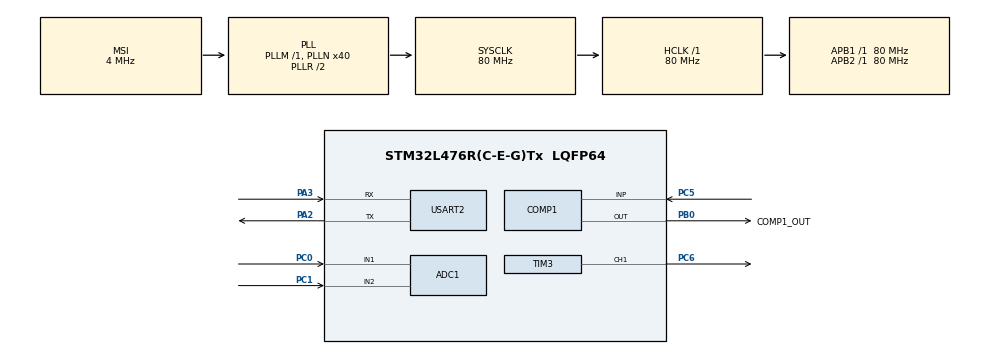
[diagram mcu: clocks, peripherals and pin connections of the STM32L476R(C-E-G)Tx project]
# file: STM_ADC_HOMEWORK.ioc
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ADC1.Channel-0\#ChannelRegularConversion=ADC_CHANNEL_1
ADC1.ContinuousConvMode=ENABLE
ADC1.NbrOfConversion=1
ADC1.NbrOfConversionFlag=1
ADC1.OffsetNumber-0\#ChannelRegularConversion=ADC_OFFSET_NONE
ADC1.Overrun=ADC_OVR_DATA_OVERWRITTEN
ADC1.Rank-0\#ChannelRegularConversion=1
ADC1.SamplingTime-0\#ChannelRegularConversion=ADC_SAMPLETIME_640CYCLES_5
ADC1.master=1
COMP1.OutputPol=COMP_OUTPUTPOL_INVERTED
Dma.ADC1.0.Direction=DMA_PERIPH_TO_MEMORY
Dma.ADC1.0.Instance=DMA1_Channel1
Dma.ADC1.0.MemDataAlignment=DMA_MDATAALIGN_HALFWORD
Dma.ADC1.0.MemInc=DMA_MINC_ENABLE
Dma.ADC1.0.Mode=DMA_CIRCULAR
Dma.ADC1.0.PeriphDataAlignment=DMA_PDATAALIGN_HALFWORD
Dma.ADC1.0.PeriphInc=DMA_PINC_DISABLE
Dma.ADC1.0.Priority=DMA_PRIORITY_LOW
Dma.Request0=ADC1
Mcu.Family=STM32L4
Mcu.Name=STM32L476R(C-E-G)Tx
Mcu.Package=LQFP64
NVIC.ADC1_2_IRQn=true\:3\:0\:true\:false\:true\:true\:true\:true
NVIC.DMA1_Channel1_IRQn=true\:0\:0\:false\:false\:true\:false\:true\:true
NVIC.PriorityGroup=NVIC_PRIORITYGROUP_4
NVIC.TIM2_IRQn=true\:7\:0\:true\:false\:true\:true\:true\:true
NVIC.TIM3_IRQn=true\:7\:0\:true\:false\:true\:true\:true\:true
NVIC.TIM6_DAC_IRQn=true\:2\:0\:true\:false\:true\:true\:true\:true
NVIC.USART2_IRQn=true\:10\:0\:true\:false\:true\:true\:true\:true
PA2.Mode=Asynchronous
PA2.Signal=USART2_TX
PA3.Mode=Asynchronous
PA3.Signal=USART2_RX
PB0.GPIO_Label=COMP1_OUT
PB0.Mode=ExternalOutput
PB0.Signal=COMP1_OUT
PC0.Signal=ADCx_IN1
PC1.Signal=ADCx_IN2
PC5.Mode=INP
PC5.Signal=COMP1_INP
PC6.Signal=S_TIM3_CH1
ProjectManager.HeapSize=0x200
ProjectManager.StackSize=0x400
ProjectManager.TargetToolchain=STM32CubeIDE
RCC.ADCFreq_Value=32000000
RCC.AHBFreq_Value=80000000
RCC.APB1Freq_Value=80000000
RCC.APB1TimFreq_Value=80000000
RCC.APB2Freq_Value=80000000
RCC.APB2TimFreq_Value=80000000
RCC.CortexFreq_Value=80000000
RCC.HCLKFreq_Value=80000000
RCC.HSE_VALUE=8000000
RCC.HSI_VALUE=16000000
RCC.LSE_VALUE=32768
RCC.MSI_VALUE=4000000
RCC.PLLN=40
RCC.PLLSAI1N=16
RCC.SYSCLKFreq_VALUE=80000000
RCC.SYSCLKSource=RCC_SYSCLKSOURCE_PLLCLK
RCC.USBFreq_Value=32000000
RCC.VCOOutputFreq_Value=160000000
SH.ADCx_IN1.0=ADC1_IN1,IN1-Single-Ended
SH.ADCx_IN2.0=ADC1_IN2,IN2-Single-Ended
SH.S_TIM3_CH1.0=TIM3_CH1,PWM Generation1 CH1
TIM2.AutoReloadPreload=TIM_AUTORELOAD_PRELOAD_ENABLE
TIM2.Period=1000
TIM2.Prescaler=7999
TIM3.AutoReloadPreload=TIM_AUTORELOAD_PRELOAD_ENABLE
TIM3.Channel-PWM\ Generation1\ CH1=TIM_CHANNEL_1
TIM3.Period=999
TIM3.Prescaler=79
USART2.VirtualMode-Asynchronous=VM_ASYNC
VP_COMP1_VS_DACOUT1.Mode=INM_DACOUT1
VP_DAC1_VS_DACI1.Mode=DAC_OUT1_Int
VP_TIM2_VS_ClockSourceINT.Mode=Internal
board=custom

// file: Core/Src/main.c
/* USER CODE BEGIN Header */
/**
  ******************************************************************************
  * @file           : main.c
  * @brief          : Main program body
  ******************************************************************************
  * @attention
  *
  * Copyright (c) 2024 STMicroelectronics.
  * All rights reserved.
  *
  * This software is licensed under terms that can be found in the LICENSE file
  * in the root directory of this software component.
  * If no LICENSE file comes with this software, it is provided AS-IS.
  *
  ******************************************************************************
  */
/* USER CODE END Header */
#include "main.h"

/* USER CODE BEGIN Includes */
#include <stdio.h>
/* USER CODE END Includes */

ADC_HandleTypeDef hadc1;
DMA_HandleTypeDef hdma_adc1;

COMP_HandleTypeDef hcomp1;

DAC_HandleTypeDef hdac1;

TIM_HandleTypeDef htim2;
TIM_HandleTypeDef htim3;

UART_HandleTypeDef huart2;

void SystemClock_Config(void);
static void MX_GPIO_Init(void);
static void MX_DMA_Init(void);
static void MX_ADC1_Init(void);
static void MX_USART2_UART_Init(void);
static void MX_TIM2_Init(void);
static void MX_TIM3_Init(void);
static void MX_COMP1_Init(void);
static void MX_DAC1_Init(void);
/* USER CODE BEGIN PFP */
void HAL_TIM_PeriodElapsedCallback(TIM_HandleTypeDef *htim);
int __io_putchar(int ch);
/* USER CODE END PFP */

/* USER CODE BEGIN 0 */

volatile uint32_t adc_value = 0;

int __io_putchar(int ch)
{
	if(ch == '\n')
	{
		__io_putchar('\r');
	}
	HAL_UART_Transmit(&huart2, (uint8_t*)&ch, 1 , HAL_MAX_DELAY);
	return 1;
}

volatile uint32_t adc_value_pot = 0;
volatile uint32_t adc_value_ldr = 0;
void HAL_ADC_ConvCpltCallback(ADC_HandleTypeDef* hadc)
{
	if(hadc->Instance == ADC1){
		adc_value_pot = HAL_ADC_GetValue(hadc);

		HAL_ADC_Start(&hadc1);
		while(HAL_ADC_PollForConversion(&hadc1, 100) != HAL_OK);
		adc_value_ldr = HAL_ADC_GetValue(hadc);

		uint32_t frequency = 100 + (adc_value_pot * 4000 / 4096);
		__HAL_TIM_SET_AUTORELOAD(&htim3, frequency);

		uint32_t pwm_value = (adc_value_ldr * 1000) / 4095;
		__HAL_TIM_SET_COMPARE(&htim3, TIM_CHANNEL_1, pwm_value);
		__HAL_TIM_SET_COMPARE(&htim3, TIM_CHANNEL_2, pwm_value);
	}
}

/* USER CODE END 0 */

// TODO fix code
// add joystick
int main(void)
{

  /* MCU Configuration--------------------------------------------------------*/

  /* Reset of all peripherals, Initializes the Flash interface and the Systick. */
  HAL_Init();

  /* Configure the system clock */
  SystemClock_Config();

  /* Initialize all configured peripherals */
  MX_GPIO_Init();
  MX_DMA_Init();
  MX_ADC1_Init();
  MX_USART2_UART_Init();
  MX_TIM2_Init();
  MX_TIM3_Init();
  MX_COMP1_Init();
  MX_DAC1_Init();

  /* Infinite loop */
  /* USER CODE BEGIN WHILE */

  HAL_ADC_Start_IT(&hadc1);
  HAL_TIM_PWM_Start(&htim3, TIM_CHANNEL_1);
  HAL_TIM_PWM_Start(&htim3, TIM_CHANNEL_2);
  while (1)
  {
    /* USER CODE END WHILE */

  }
}

void SystemClock_Config(void)
{
  RCC_OscInitTypeDef RCC_OscInitStruct = {0};
  RCC_ClkInitTypeDef RCC_ClkInitStruct = {0};

  /** Configure the main internal regulator output voltage
  */
  if (HAL_PWREx_ControlVoltageScaling(PWR_REGULATOR_VOLTAGE_SCALE1) != HAL_OK)
  {
    Error_Handler();
  }

  /** Initializes the RCC Oscillators according to the specified parameters
  * in the RCC_OscInitTypeDef structure.
  */
  RCC_OscInitStruct.OscillatorType = RCC_OSCILLATORTYPE_MSI;
  RCC_OscInitStruct.MSIState = RCC_MSI_ON;
  RCC_OscInitStruct.MSICalibrationValue = 0;
  RCC_OscInitStruct.MSIClockRange = RCC_MSIRANGE_6;
  RCC_OscInitStruct.PLL.PLLState = RCC_PLL_ON;
  RCC_OscInitStruct.PLL.PLLSource = RCC_PLLSOURCE_MSI;
  RCC_OscInitStruct.PLL.PLLM = 1;
  RCC_OscInitStruct.PLL.PLLN = 40;
  RCC_OscInitStruct.PLL.PLLP = RCC_PLLP_DIV7;
  RCC_OscInitStruct.PLL.PLLQ = RCC_PLLQ_DIV2;
  RCC_OscInitStruct.PLL.PLLR = RCC_PLLR_DIV2;
  if (HAL_RCC_OscConfig(&RCC_OscInitStruct) != HAL_OK)
  {
    Error_Handler();
  }

  /** Initializes the CPU, AHB and APB buses clocks
  */
  RCC_ClkInitStruct.ClockType = RCC_CLOCKTYPE_HCLK|RCC_CLOCKTYPE_SYSCLK
                              |RCC_CLOCKTYPE_PCLK1|RCC_CLOCKTYPE_PCLK2;
  RCC_ClkInitStruct.SYSCLKSource = RCC_SYSCLKSOURCE_PLLCLK;
  RCC_ClkInitStruct.AHBCLKDivider = RCC_SYSCLK_DIV1;
  RCC_ClkInitStruct.APB1CLKDivider = RCC_HCLK_DIV1;
  RCC_ClkInitStruct.APB2CLKDivider = RCC_HCLK_DIV1;

  if (HAL_RCC_ClockConfig(&RCC_ClkInitStruct, FLASH_LATENCY_4) != HAL_OK)
  {
    Error_Handler();
  }
}

static void MX_ADC1_Init(void)
{

  ADC_MultiModeTypeDef multimode = {0};
  ADC_ChannelConfTypeDef sConfig = {0};

  /** Common config
  */
  hadc1.Instance = ADC1;
  hadc1.Init.ClockPrescaler = ADC_CLOCK_ASYNC_DIV1;
  hadc1.Init.Resolution = ADC_RESOLUTION_12B;
  hadc1.Init.DataAlign = ADC_DATAALIGN_RIGHT;
  hadc1.Init.ScanConvMode = ADC_SCAN_DISABLE;
  hadc1.Init.EOCSelection = ADC_EOC_SINGLE_CONV;
  hadc1.Init.LowPowerAutoWait = DISABLE;
  hadc1.Init.ContinuousConvMode = ENABLE;
  hadc1.Init.NbrOfConversion = 1;
  hadc1.Init.DiscontinuousConvMode = DISABLE;
  hadc1.Init.ExternalTrigConv = ADC_SOFTWARE_START;
  hadc1.Init.ExternalTrigConvEdge = ADC_EXTERNALTRIGCONVEDGE_NONE;
  hadc1.Init.DMAContinuousRequests = DISABLE;
  hadc1.Init.Overrun = ADC_OVR_DATA_OVERWRITTEN;
  hadc1.Init.OversamplingMode = DISABLE;
  if (HAL_ADC_Init(&hadc1) != HAL_OK)
  {
    Error_Handler();
  }

  /** Configure the ADC multi-mode
  */
  multimode.Mode = ADC_MODE_INDEPENDENT;
  if (HAL_ADCEx_MultiModeConfigChannel(&hadc1, &multimode) != HAL_OK)
  {
    Error_Handler();
  }

  /** Configure Regular Channel
  */
  sConfig.Channel = ADC_CHANNEL_1;
  sConfig.Rank = ADC_REGULAR_RANK_1;
  sConfig.SamplingTime = ADC_SAMPLETIME_640CYCLES_5;
  sConfig.SingleDiff = ADC_SINGLE_ENDED;
  sConfig.OffsetNumber = ADC_OFFSET_NONE;
  sConfig.Offset = 0;
  if (HAL_ADC_ConfigChannel(&hadc1, &sConfig) != HAL_OK)
  {
    Error_Handler();
  }

}

static void MX_COMP1_Init(void)
{

  hcomp1.Instance = COMP1;
  hcomp1.Init.InvertingInput = COMP_INPUT_MINUS_DAC1_CH1;
  hcomp1.Init.NonInvertingInput = COMP_INPUT_PLUS_IO1;
  hcomp1.Init.OutputPol = COMP_OUTPUTPOL_INVERTED;
  hcomp1.Init.Hysteresis = COMP_HYSTERESIS_NONE;
  hcomp1.Init.BlankingSrce = COMP_BLANKINGSRC_NONE;
  hcomp1.Init.Mode = COMP_POWERMODE_HIGHSPEED;
  hcomp1.Init.WindowMode = COMP_WINDOWMODE_DISABLE;
  hcomp1.Init.TriggerMode = COMP_TRIGGERMODE_NONE;
  if (HAL_COMP_Init(&hcomp1) != HAL_OK)
  {
    Error_Handler();
  }

}

static void MX_DAC1_Init(void)
{

  DAC_ChannelConfTypeDef sConfig = {0};

  /** DAC Initialization
  */
  hdac1.Instance = DAC1;
  if (HAL_DAC_Init(&hdac1) != HAL_OK)
  {
    Error_Handler();
  }

  /** DAC channel OUT1 config
  */
  sConfig.DAC_SampleAndHold = DAC_SAMPLEANDHOLD_DISABLE;
  sConfig.DAC_Trigger = DAC_TRIGGER_NONE;
  sConfig.DAC_OutputBuffer = DAC_OUTPUTBUFFER_DISABLE;
  sConfig.DAC_ConnectOnChipPeripheral = DAC_CHIPCONNECT_ENABLE;
  sConfig.DAC_UserTrimming = DAC_TRIMMING_FACTORY;
  if (HAL_DAC_ConfigChannel(&hdac1, &sConfig, DAC_CHANNEL_1) != HAL_OK)
  {
    Error_Handler();
  }

}

static void MX_TIM2_Init(void)
{

  TIM_ClockConfigTypeDef sClockSourceConfig = {0};
  TIM_MasterConfigTypeDef sMasterConfig = {0};

  htim2.Instance = TIM2;
  htim2.Init.Prescaler = 7999;
  htim2.Init.CounterMode = TIM_COUNTERMODE_UP;
  htim2.Init.Period = 1000;
  htim2.Init.ClockDivision = TIM_CLOCKDIVISION_DIV1;
  htim2.Init.AutoReloadPreload = TIM_AUTORELOAD_PRELOAD_ENABLE;
  if (HAL_TIM_Base_Init(&htim2) != HAL_OK)
  {
    Error_Handler();
  }
  sClockSourceConfig.ClockSource = TIM_CLOCKSOURCE_INTERNAL;
  if (HAL_TIM_ConfigClockSource(&htim2, &sClockSourceConfig) != HAL_OK)
  {
    Error_Handler();
  }
  sMasterConfig.MasterOutputTrigger = TIM_TRGO_RESET;
  sMasterConfig.MasterSlaveMode = TIM_MASTERSLAVEMODE_DISABLE;
  if (HAL_TIMEx_MasterConfigSynchronization(&htim2, &sMasterConfig) != HAL_OK)
  {
    Error_Handler();
  }

}

static void MX_TIM3_Init(void)
{

  TIM_MasterConfigTypeDef sMasterConfig = {0};
  TIM_OC_InitTypeDef sConfigOC = {0};

  htim3.Instance = TIM3;
  htim3.Init.Prescaler = 79;
  htim3.Init.CounterMode = TIM_COUNTERMODE_UP;
  htim3.Init.Period = 999;
  htim3.Init.ClockDivision = TIM_CLOCKDIVISION_DIV1;
  htim3.Init.AutoReloadPreload = TIM_AUTORELOAD_PRELOAD_ENABLE;
  if (HAL_TIM_PWM_Init(&htim3) != HAL_OK)
  {
    Error_Handler();
  }
  sMasterConfig.MasterOutputTrigger = TIM_TRGO_RESET;
  sMasterConfig.MasterSlaveMode = TIM_MASTERSLAVEMODE_DISABLE;
  if (HAL_TIMEx_MasterConfigSynchronization(&htim3, &sMasterConfig) != HAL_OK)
  {
    Error_Handler();
  }
  sConfigOC.OCMode = TIM_OCMODE_PWM1;
  sConfigOC.Pulse = 0;
  sConfigOC.OCPolarity = TIM_OCPOLARITY_HIGH;
  sConfigOC.OCFastMode = TIM_OCFAST_DISABLE;
  if (HAL_TIM_PWM_ConfigChannel(&htim3, &sConfigOC, TIM_CHANNEL_1) != HAL_OK)
  {
    Error_Handler();
  }
  HAL_TIM_MspPostInit(&htim3);

}

static void MX_USART2_UART_Init(void)
{

  huart2.Instance = USART2;
  huart2.Init.BaudRate = 115200;
  huart2.Init.WordLength = UART_WORDLENGTH_8B;
  huart2.Init.StopBits = UART_STOPBITS_1;
  huart2.Init.Parity = UART_PARITY_NONE;
  huart2.Init.Mode = UART_MODE_TX_RX;
  huart2.Init.HwFlowCtl = UART_HWCONTROL_NONE;
  huart2.Init.OverSampling = UART_OVERSAMPLING_16;
  huart2.Init.OneBitSampling = UART_ONE_BIT_SAMPLE_DISABLE;
  huart2.AdvancedInit.AdvFeatureInit = UART_ADVFEATURE_NO_INIT;
  if (HAL_UART_Init(&huart2) != HAL_OK)
  {
    Error_Handler();
  }

}

static void MX_DMA_Init(void)
{

  /* DMA controller clock enable */
  __HAL_RCC_DMA1_CLK_ENABLE();

  /* DMA interrupt init */
  /* DMA1_Channel1_IRQn interrupt configuration */
  HAL_NVIC_SetPriority(DMA1_Channel1_IRQn, 0, 0);
  HAL_NVIC_EnableIRQ(DMA1_Channel1_IRQn);

}

static void MX_GPIO_Init(void)
{

  /* GPIO Ports Clock Enable */
  __HAL_RCC_GPIOC_CLK_ENABLE();
  __HAL_RCC_GPIOA_CLK_ENABLE();
  __HAL_RCC_GPIOB_CLK_ENABLE();

}

void Error_Handler(void)
{
  __disable_irq();
  while (1)
  {
  }
}
